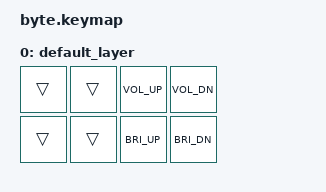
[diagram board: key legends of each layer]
/*
 * Copyright (c) 2020 The ZMK Contributors
 *
 * SPDX-License-Identifier: MIT
 */

#include <behaviors.dtsi>
#include <dt-bindings/zmk/keys.h>
#include <dt-bindings/zmk/bt.h>

#define ___ &trans

/ {
    keymap {
        compatible = "zmk,keymap";

        default_layer {
            bindings = <
    ___ ___ &kp C_VOL_UP &kp C_VOL_DN
    ___ ___ &kp C_BRI_UP &kp C_BRI_DN
            >;
        };
    };
};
